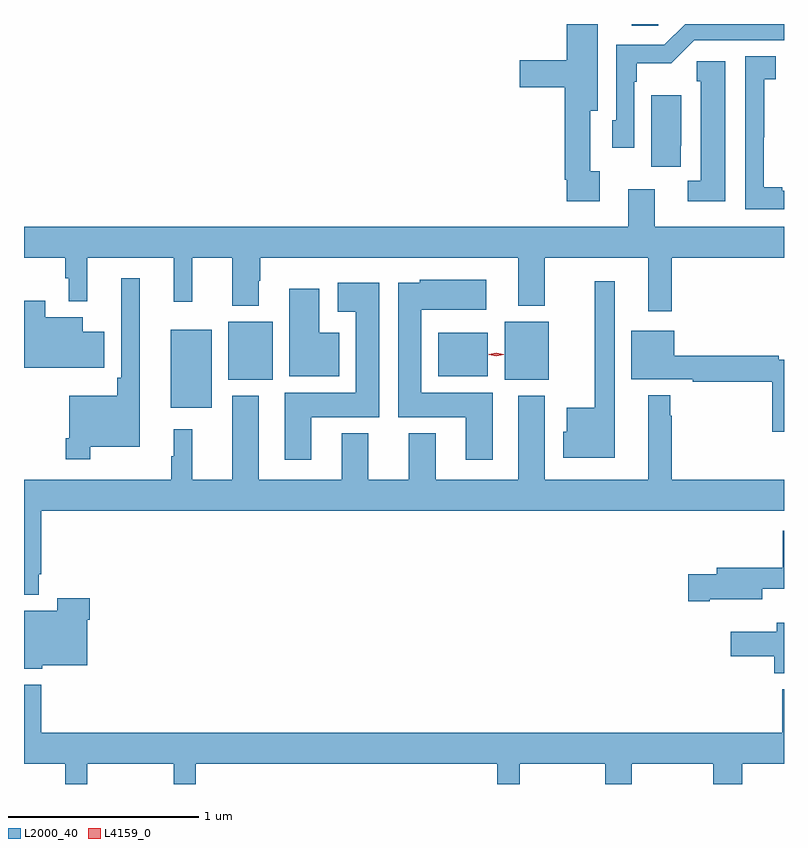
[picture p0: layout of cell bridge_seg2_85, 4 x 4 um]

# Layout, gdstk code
import gdstk
lib = gdstk.Library(unit=1e-6, precision=1e-09)
def R(c, l, rs):  # rectangles x0, y0, x1, y1
    for r in rs: c.add(gdstk.rectangle(r[:2], r[2:], *l))
def P(c, l, *ps):  # polygons
    for p in ps: c.add(gdstk.Polygon(p, *l))
L2000_40 = (2000, 40)
L4159_0 = (4159, 0)

bridge_seg2_85 = lib.new_cell('bridge_seg2_85')
R(bridge_seg2_85, L2000_40, [(266.507,613.547,266.722,613.957), (266.81,613.694,267.043,613.999), (268.265,613.694,268.498,613.999), (267.914,613.712,268.177,613.942), (268.934,615.558,269.073,615.566)])
P(bridge_seg2_85, L2000_40, [(268.947,615.263),(268.96,615.263),(268.96,615.359),(269.141,615.359),(269.262,615.48),(269.735,615.48),(269.735,615.566),(269.216,615.566),(269.106,615.456),(268.851,615.456),(268.851,615.06),(268.83,615.06),(268.83,614.916),(268.947,614.916)],
  [(268.765,614.79),(268.714,614.79),(268.714,615.11),(268.756,615.11),(268.756,615.566),(268.592,615.566),(268.592,615.375),(268.344,615.375),(268.344,615.233),(268.58,615.233),(268.58,614.746),(268.592,614.746),(268.592,614.634),(268.765,614.634)],
  [(269.735,614.688),(269.725,614.688),(269.725,614.708),(269.629,614.708),(269.629,614.971),(269.631,614.971),(269.631,615.275),(269.692,615.275),(269.692,615.395),(269.532,615.395),(269.532,614.592),(269.735,614.592)],
  [(269.425,615.37),(269.275,615.37),(269.275,615.264),(269.297,615.264),(269.297,614.741),(269.229,614.741),(269.229,614.633),(269.425,614.633)],
  [(269.192,614.926),(269.194,614.926),(269.194,615.19),(269.036,615.19),(269.036,614.814),(269.192,614.814)],
  [(269.143,614.336),(269.735,614.336),(269.735,614.5),(269.056,614.5),(269.056,614.695),(268.916,614.695),(268.916,614.5),(265.735,614.5),(265.735,614.336),(265.951,614.336),(265.951,614.229),(265.971,614.229),(265.971,614.108),(266.069,614.108),(266.069,614.336),(266.522,614.336),(266.522,614.103),(266.621,614.103),(266.621,614.336),(266.831,614.336),(266.831,614.084),(266.971,614.084),(266.971,614.216),(266.979,614.216),(266.979,614.336),(268.337,614.336),(268.337,614.084),(268.477,614.084),(268.477,614.336),(269.021,614.336),(269.021,614.055),(269.143,614.055)],
  [(266.083,613.34),(266.344,613.34),(266.344,614.227),(266.247,614.227),(266.247,613.705),(266.227,613.705),(266.227,613.609),(265.974,613.609),(265.974,613.387),(265.954,613.387),(265.954,613.275),(266.083,613.275)],
  [(268.201,613.624),(267.826,613.624),(267.826,614.063),(268.168,614.063),(268.168,614.221),(267.819,614.221),(267.819,614.203),(267.704,614.203),(267.704,613.496),(268.061,613.496),(268.061,613.272),(268.201,613.272)],
  [(268.843,614.212),(268.739,614.212),(268.739,613.546),(268.592,613.546),(268.592,613.419),(268.574,613.419),(268.574,613.283),(268.843,613.283)],
  [(267.247,613.496),(267.604,613.496),(267.604,614.203),(267.387,614.203),(267.387,614.051),(267.482,614.051),(267.482,613.624),(267.107,613.624),(267.107,613.272),(267.247,613.272)],
  [(267.394,613.942),(267.289,613.942),(267.289,614.173),(267.131,614.173),(267.131,613.712),(267.394,613.712)],
  [(266.158,613.945),(266.044,613.945),(266.044,614.023),(265.846,614.023),(265.846,614.11),(265.735,614.11),(265.735,613.757),(266.158,613.757)],
  [(269.735,613.8),(269.708,613.8),(269.708,613.82),(269.158,613.82),(269.158,613.951),(268.931,613.951),(268.931,613.697),(269.254,613.697),(269.254,613.684),(269.672,613.684),(269.672,613.419),(269.735,613.419)],
  [(265.813,612.67),(265.826,612.67),(265.826,613.004),(269.735,613.004),(269.735,613.168),(269.143,613.168),(269.143,613.505),(269.136,613.505),(269.136,613.612),(269.021,613.612),(269.021,613.168),(268.477,613.168),(268.477,613.609),(268.337,613.609),(268.337,613.168),(267.901,613.168),(267.901,613.411),(267.761,613.411),(267.761,613.168),(267.547,613.168),(267.547,613.411),(267.407,613.411),(267.407,613.168),(266.971,613.168),(266.971,613.609),(266.831,613.609),(266.831,613.168),(266.621,613.168),(266.621,613.432),(266.522,613.432),(266.522,613.292),(266.511,613.292),(266.511,613.168),(265.735,613.168),(265.735,612.563),(265.813,612.563)],
  [(269.344,612.539),(269.62,612.539),(269.62,612.593),(269.735,612.593),(269.735,612.898),(269.728,612.898),(269.728,612.703),(269.381,612.703),(269.381,612.669),(269.232,612.669),(269.232,612.527),(269.344,612.527)],
  [(265.83,612.191),(266.068,612.191),(266.068,612.431),(266.081,612.431),(266.081,612.544),(265.91,612.544),(265.91,612.478),(265.735,612.478),(265.735,612.173),(265.83,612.173)],
  [(269.735,612.415),(269.696,612.415),(269.696,612.367),(269.454,612.367),(269.454,612.238),(269.684,612.238),(269.684,612.149),(269.735,612.149)],
  [(266.069,611.672),(266.522,611.672),(266.522,611.566),(266.639,611.566),(266.639,611.672),(268.225,611.672),(268.225,611.566),(268.343,611.566),(268.343,611.672),(268.793,611.672),(268.793,611.566),(268.933,611.566),(268.933,611.672),(269.363,611.672),(269.363,611.566),(269.516,611.566),(269.516,611.672),(269.735,611.672),(269.735,612.064),(269.725,612.064),(269.725,611.836),(265.826,611.836),(265.826,612.088),(265.735,612.088),(265.735,611.672),(265.951,611.672),(265.951,611.566),(266.069,611.566)])
P(bridge_seg2_85, L4159_0, [(268.22,613.817),(268.182,613.826),(268.181,613.827),(268.182,613.827),(268.22,613.837),(268.259,613.827),(268.259,613.827),(268.259,613.826)])

lib.write_gds('bridge_seg2_85.gds')
